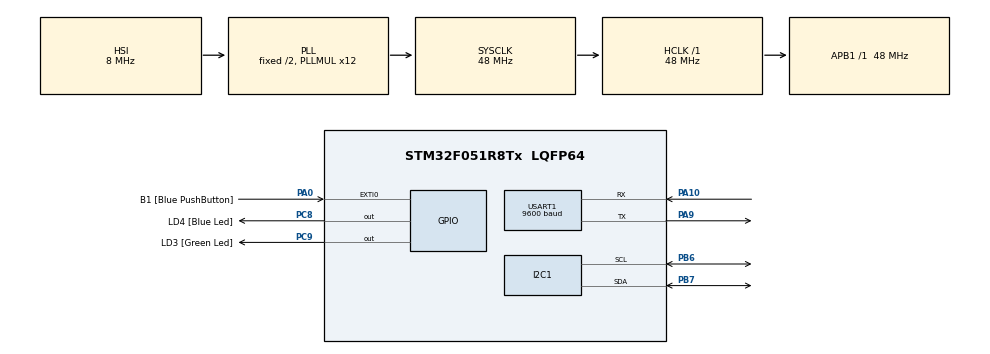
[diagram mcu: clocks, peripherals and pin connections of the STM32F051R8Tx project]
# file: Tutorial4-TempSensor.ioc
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Mcu.Family=STM32F0
Mcu.Name=STM32F051R8Tx
Mcu.Package=LQFP64
PA0.GPIO_Label=B1 [Blue PushButton]
PA0.GPIO_ModeDefaultEXTI=GPIO_MODE_EVT_RISING
PA0.Signal=GPXTI0
PA10.Mode=Asynchronous
PA10.Signal=USART1_RX
PA13.GPIO_Label=SWDIO
PA13.Mode=Serial_Wire
PA13.Signal=SYS_SWDIO
PA14.GPIO_Label=SWCLK
PA14.Mode=Serial_Wire
PA14.Signal=SYS_SWCLK
PA9.Mode=Asynchronous
PA9.Signal=USART1_TX
PB6.Mode=I2C
PB6.Signal=I2C1_SCL
PB7.Mode=I2C
PB7.Signal=I2C1_SDA
PC8.GPIO_Label=LD4 [Blue Led]
PC8.Signal=GPIO_Output
PC9.GPIO_Label=LD3 [Green Led]
PC9.Signal=GPIO_Output
ProjectManager.HeapSize=0x200
ProjectManager.StackSize=0x400
ProjectManager.TargetToolchain=STM32CubeIDE
RCC.AHBFreq_Value=48000000
RCC.APB1Freq_Value=48000000
RCC.APB1TimFreq_Value=48000000
RCC.HCLKFreq_Value=48000000
RCC.PLLMUL=RCC_PLL_MUL12
RCC.SYSCLKFreq_VALUE=48000000
RCC.SYSCLKSource=RCC_SYSCLKSOURCE_PLLCLK
USART1.BaudRate=9600
USART1.VirtualMode-Asynchronous=VM_ASYNC
board=STM32F0DISCOVERY

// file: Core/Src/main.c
/* USER CODE BEGIN Header */
/**
  ******************************************************************************
  * @file           : main.c
  * @brief          : Main program body
  ******************************************************************************
  * @attention
  *
  * Copyright (c) 2023 STMicroelectronics.
  * All rights reserved.
  *
  * This software is licensed under terms that can be found in the LICENSE file
  * in the root directory of this software component.
  * If no LICENSE file comes with this software, it is provided AS-IS.
  *
  ******************************************************************************
  */
/* USER CODE END Header */
#include "main.h"

/* USER CODE BEGIN Includes */
#include <stdio.h>
#include <string.h>
/* USER CODE END Includes */

I2C_HandleTypeDef hi2c1;

UART_HandleTypeDef huart1;

void SystemClock_Config(void);
static void MX_GPIO_Init(void);
static void MX_I2C1_Init(void);
static void MX_USART1_UART_Init(void);

int main(void)
{
  /* USER CODE BEGIN 1 */
	uint8_t buffer[60];
	int temperature;
	const int deviceNum = 4;
	const int deviceAddresses[4] = {0x48 << 1, 0x49 << 1, 0x4A << 1, 0x4B << 1}; // 4 Temperature sensors, I2C addresses
	const int tempRegisterAddress = 0x0; //All sensors have the same register for the temperature
	HAL_StatusTypeDef status;
	int i;
	uint16_t val;
  /* USER CODE END 1 */

  /* MCU Configuration--------------------------------------------------------*/

  /* Reset of all peripherals, Initializes the Flash interface and the Systick. */
  HAL_Init();

  /* Configure the system clock */
  SystemClock_Config();

  /* Initialize all configured peripherals */
  MX_GPIO_Init();
  MX_I2C1_Init();
  MX_USART1_UART_Init();

  /* Infinite loop */
  /* USER CODE BEGIN WHILE */
  while (1)
  {
	  for(i=0;i<deviceNum;i++) //Go to each device
	  {
		  buffer[0] = tempRegisterAddress; //Register address with MSB of temperature data
		  status = HAL_I2C_Master_Transmit(&hi2c1, deviceAddresses[i], buffer, 1, 10000); //Send request to read to register 0x0 of the current device
		  if(status != HAL_OK)
		  {
			 sprintf((char*) buffer, "Error transmitting to temp sensor of device %d of addr [%X]\r\n", i, deviceAddresses[i] >> 1);
		  }
		  else
		  {
			  status = HAL_I2C_Master_Receive(&hi2c1, deviceAddresses[i], buffer, 2, 10000); //Get 2 bytes, starting at register 0x0 and then 0x1

			  if(status != HAL_OK)
			  {
				  sprintf((char*) buffer, "Error receiving from temp sensor of device %d of addr [%X]\r\n", i, deviceAddresses[i] >> 1);
			  }
			  else
			  {
				  //Format of return  SMMMMMMM
				  //				  LLLLLFFF
				  // s MMMM MMML LLLL

				  val = ((uint16_t)buffer[0] << 5 | buffer[1] >> 3);

				  if(val > 0x7FF) // If the output is bigger than the value of just the sign bit
				  {
					  val |= 0xF000;
				  }

				  temperature = val * 625; //Each step for 13 bits is 0.0625 * 10,000 = 625
				  //26 = temp/100 --> temp = 2600 ---> 2600 = val * 625 ---> 2600/625 --->  4ish

				  //Format for output
				  temperature /= 100;//Split the decimal
				  sprintf((char*) buffer, "%d - %u.%02u C\r\n", i, (unsigned int) temperature / 100, (unsigned int) temperature % 100);
			  }
		  }

		  HAL_UART_Transmit(&huart1, buffer, strlen((char*)buffer), 100000);
	  }

	  HAL_Delay(2000);
    /* USER CODE END WHILE */

  }
}

void SystemClock_Config(void)
{
  RCC_OscInitTypeDef RCC_OscInitStruct = {0};
  RCC_ClkInitTypeDef RCC_ClkInitStruct = {0};
  RCC_PeriphCLKInitTypeDef PeriphClkInit = {0};

  /** Initializes the RCC Oscillators according to the specified parameters
  * in the RCC_OscInitTypeDef structure.
  */
  RCC_OscInitStruct.OscillatorType = RCC_OSCILLATORTYPE_HSI;
  RCC_OscInitStruct.HSIState = RCC_HSI_ON;
  RCC_OscInitStruct.HSICalibrationValue = RCC_HSICALIBRATION_DEFAULT;
  RCC_OscInitStruct.PLL.PLLState = RCC_PLL_ON;
  RCC_OscInitStruct.PLL.PLLSource = RCC_PLLSOURCE_HSI;
  RCC_OscInitStruct.PLL.PLLMUL = RCC_PLL_MUL12;
  RCC_OscInitStruct.PLL.PREDIV = RCC_PREDIV_DIV1;
  if (HAL_RCC_OscConfig(&RCC_OscInitStruct) != HAL_OK)
  {
    Error_Handler();
  }

  /** Initializes the CPU, AHB and APB buses clocks
  */
  RCC_ClkInitStruct.ClockType = RCC_CLOCKTYPE_HCLK|RCC_CLOCKTYPE_SYSCLK
                              |RCC_CLOCKTYPE_PCLK1;
  RCC_ClkInitStruct.SYSCLKSource = RCC_SYSCLKSOURCE_PLLCLK;
  RCC_ClkInitStruct.AHBCLKDivider = RCC_SYSCLK_DIV1;
  RCC_ClkInitStruct.APB1CLKDivider = RCC_HCLK_DIV1;

  if (HAL_RCC_ClockConfig(&RCC_ClkInitStruct, FLASH_LATENCY_1) != HAL_OK)
  {
    Error_Handler();
  }
  PeriphClkInit.PeriphClockSelection = RCC_PERIPHCLK_USART1|RCC_PERIPHCLK_I2C1;
  PeriphClkInit.Usart1ClockSelection = RCC_USART1CLKSOURCE_PCLK1;
  PeriphClkInit.I2c1ClockSelection = RCC_I2C1CLKSOURCE_HSI;
  if (HAL_RCCEx_PeriphCLKConfig(&PeriphClkInit) != HAL_OK)
  {
    Error_Handler();
  }
}

static void MX_I2C1_Init(void)
{

  hi2c1.Instance = I2C1;
  hi2c1.Init.Timing = 0x2000090E;
  hi2c1.Init.OwnAddress1 = 0;
  hi2c1.Init.AddressingMode = I2C_ADDRESSINGMODE_7BIT;
  hi2c1.Init.DualAddressMode = I2C_DUALADDRESS_DISABLE;
  hi2c1.Init.OwnAddress2 = 0;
  hi2c1.Init.OwnAddress2Masks = I2C_OA2_NOMASK;
  hi2c1.Init.GeneralCallMode = I2C_GENERALCALL_DISABLE;
  hi2c1.Init.NoStretchMode = I2C_NOSTRETCH_DISABLE;
  if (HAL_I2C_Init(&hi2c1) != HAL_OK)
  {
    Error_Handler();
  }

  /** Configure Analogue filter
  */
  if (HAL_I2CEx_ConfigAnalogFilter(&hi2c1, I2C_ANALOGFILTER_ENABLE) != HAL_OK)
  {
    Error_Handler();
  }

  /** Configure Digital filter
  */
  if (HAL_I2CEx_ConfigDigitalFilter(&hi2c1, 0) != HAL_OK)
  {
    Error_Handler();
  }

}

static void MX_USART1_UART_Init(void)
{

  huart1.Instance = USART1;
  huart1.Init.BaudRate = 9600;
  huart1.Init.WordLength = UART_WORDLENGTH_8B;
  huart1.Init.StopBits = UART_STOPBITS_1;
  huart1.Init.Parity = UART_PARITY_NONE;
  huart1.Init.Mode = UART_MODE_TX_RX;
  huart1.Init.HwFlowCtl = UART_HWCONTROL_NONE;
  huart1.Init.OverSampling = UART_OVERSAMPLING_16;
  huart1.Init.OneBitSampling = UART_ONE_BIT_SAMPLE_DISABLE;
  huart1.AdvancedInit.AdvFeatureInit = UART_ADVFEATURE_NO_INIT;
  if (HAL_UART_Init(&huart1) != HAL_OK)
  {
    Error_Handler();
  }

}

static void MX_GPIO_Init(void)
{
  GPIO_InitTypeDef GPIO_InitStruct = {0};

  /* GPIO Ports Clock Enable */
  __HAL_RCC_GPIOA_CLK_ENABLE();
  __HAL_RCC_GPIOC_CLK_ENABLE();
  __HAL_RCC_GPIOB_CLK_ENABLE();

  /*Configure GPIO pin Output Level */
  HAL_GPIO_WritePin(GPIOC, LD4_Pin|LD3_Pin, GPIO_PIN_RESET);

  /*Configure GPIO pin : B1_Pin */
  GPIO_InitStruct.Pin = B1_Pin;
  GPIO_InitStruct.Mode = GPIO_MODE_EVT_RISING;
  GPIO_InitStruct.Pull = GPIO_NOPULL;
  HAL_GPIO_Init(B1_GPIO_Port, &GPIO_InitStruct);

  /*Configure GPIO pins : LD4_Pin LD3_Pin */
  GPIO_InitStruct.Pin = LD4_Pin|LD3_Pin;
  GPIO_InitStruct.Mode = GPIO_MODE_OUTPUT_PP;
  GPIO_InitStruct.Pull = GPIO_NOPULL;
  GPIO_InitStruct.Speed = GPIO_SPEED_FREQ_LOW;
  HAL_GPIO_Init(GPIOC, &GPIO_InitStruct);

}

void Error_Handler(void)
{
  __disable_irq();
  while (1)
  {
  }
}
